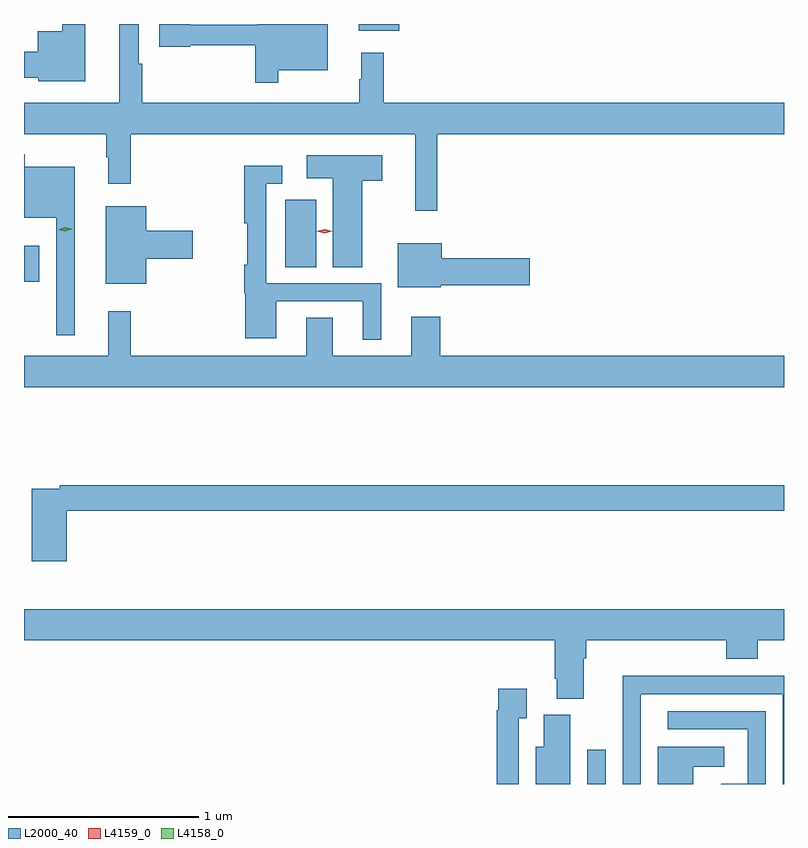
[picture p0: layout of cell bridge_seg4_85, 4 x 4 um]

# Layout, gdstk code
import gdstk
lib = gdstk.Library(unit=1e-6, precision=1e-09)
def R(c, l, rs):  # rectangles x0, y0, x1, y1
    for r in rs: c.add(gdstk.rectangle(r[:2], r[2:], *l))
def P(c, l, *ps):  # polygons
    for p in ps: c.add(gdstk.Polygon(p, *l))
L2000_40 = (2000, 40)
L4158_0 = (4158, 0)
L4159_0 = (4159, 0)

bridge_seg4_85 = lib.new_cell('bridge_seg4_85')
R(bridge_seg4_85, L2000_40, [(434.655,804.055,434.751,804.235), (431.69,806.699,431.77,806.887), (433.064,806.776,433.228,807.13), (433.451,808.019,433.666,808.055)])
P(bridge_seg4_85, L2000_40, [(433.027,807.812),(433.288,807.812),(433.288,808.055),(432.917,808.055),(432.917,808.052),(432.564,808.052),(432.564,808.055),(432.402,808.055),(432.402,807.934),(432.564,807.934),(432.564,807.942),(432.906,807.942),(432.906,807.747),(433.027,807.747)],
  [(433.865,807.476),(435.69,807.476),(435.69,807.64),(433.583,807.64),(433.583,807.904),(433.466,807.904),(433.466,807.764),(433.455,807.764),(433.455,807.64),(432.313,807.64),(432.313,807.845),(432.295,807.845),(432.295,808.055),(432.191,808.055),(432.191,807.64),(431.69,807.64),(431.69,807.476),(432.123,807.476),(432.123,807.353),(432.134,807.353),(432.134,807.213),(432.251,807.213),(432.251,807.476),(433.748,807.476),(433.748,807.072),(433.865,807.072)],
  [(432.013,808.055),(431.892,808.055),(431.892,808.018),(431.762,808.018),(431.762,807.908),(431.69,807.908),(431.69,807.773),(431.766,807.773),(431.766,807.755),(432.013,807.755)],
  [(431.956,807.304),(431.695,807.304),(431.695,807.37),(431.69,807.37),(431.69,807.035),(431.859,807.035),(431.859,806.418),(431.956,806.418)],
  [(433.471,807.23),(433.576,807.23),(433.576,807.364),(433.179,807.364),(433.179,807.242),(433.316,807.242),(433.316,806.776),(433.471,806.776)],
  [(433.57,806.691),(432.966,806.691),(432.966,807.213),(433.048,807.213),(433.048,807.31),(432.85,807.31),(432.85,807.006),(432.865,807.006),(432.865,806.788),(432.85,806.788),(432.85,806.638),(432.854,806.638),(432.854,806.402),(433.018,806.402),(433.018,806.595),(433.472,806.595),(433.472,806.394),(433.57,806.394)],
  [(432.334,806.819),(432.577,806.819),(432.577,806.966),(432.334,806.966),(432.334,807.097),(432.119,807.097),(432.119,806.687),(432.334,806.687)],
  [(433.884,806.68),(434.353,806.68),(434.353,806.822),(433.888,806.822),(433.888,806.902),(433.658,806.902),(433.658,806.669),(433.884,806.669)],
  [(435.69,806.308),(433.88,806.308),(433.88,806.515),(433.727,806.515),(433.727,806.308),(433.315,806.308),(433.315,806.51),(433.175,806.51),(433.175,806.308),(432.251,806.308),(432.251,806.542),(432.134,806.542),(432.134,806.308),(431.69,806.308),(431.69,806.144),(435.69,806.144)],
  [(431.915,805.492),(435.69,805.492),(435.69,805.628),(431.878,805.628),(431.878,805.608),(431.732,805.608),(431.732,805.227),(431.915,805.227)],
  [(431.69,804.812),(434.483,804.812),(434.483,804.61),(434.495,804.61),(434.495,804.505),(434.635,804.505),(434.635,804.716),(434.648,804.716),(434.648,804.812),(435.386,804.812),(435.386,804.713),(435.551,804.713),(435.551,804.812),(435.69,804.812),(435.69,804.976),(431.69,804.976)],
  [(434.937,804.528),(435.684,804.528),(435.684,804.055),(435.69,804.055),(435.69,804.624),(435.302,804.624),(435.302,804.626),(434.84,804.626),(434.84,804.322),(434.841,804.322),(434.841,804.055),(434.937,804.055)],
  [(434.295,804.4),(434.335,804.4),(434.335,804.556),(434.187,804.556),(434.187,804.443),(434.179,804.443),(434.179,804.055),(434.295,804.055)],
  [(435.594,804.438),(435.078,804.438),(435.078,804.342),(435.498,804.342),(435.498,804.057),(435.36,804.057),(435.358,804.055),(435.594,804.055)],
  [(434.566,804.42),(434.426,804.42),(434.426,804.25),(434.384,804.25),(434.384,804.055),(434.566,804.055)],
  [(435.213,804.146),(435.376,804.146),(435.376,804.25),(435.026,804.25),(435.026,804.055),(435.213,804.055)])
P(bridge_seg4_85, L4158_0, [(431.905,806.965),(431.869,806.973),(431.869,806.973),(431.869,806.973),(431.904,806.985),(431.94,806.977),(431.94,806.977),(431.94,806.976)])
P(bridge_seg4_85, L4159_0, [(433.272,806.955),(433.232,806.965),(433.231,806.965),(433.232,806.965),(433.272,806.975),(433.312,806.965),(433.312,806.965),(433.312,806.965)])

lib.write_gds('bridge_seg4_85.gds')
